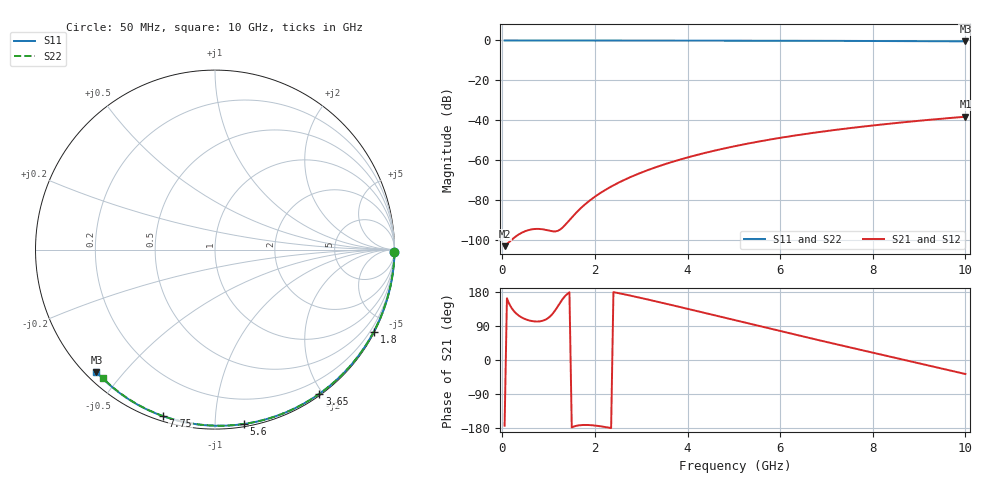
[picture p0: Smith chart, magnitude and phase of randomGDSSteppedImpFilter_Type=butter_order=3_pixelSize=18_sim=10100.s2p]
! freq	dB(S11)	phase(S11)	dB(S12)	phase(S12)
!  dB(S21)	phase(S21)	dB(S22)	phase(S22)
!S-par simulation data
#  GHz  S  DB  R 50
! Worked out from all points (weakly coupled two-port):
!   200 points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, 50 MHz to 10 GHz, reference 50 ohm
!   highest |S21| = -38.29 dB at 10 GHz (marker M1); lowest = -103.2 dB at 50 MHz (marker M2)
!   lowest |S11| = -0.5 dB at 10 GHz (marker M3), VSWR 38.21, Z = 1.54 - j21.1 ohm
!   |S11| at or under -10 dB: nowhere
!   |S22| runs from -0.4 to 0.0 dB; largest |S21 - S12| = 0
!   S11 on the Smith chart (normalised r, x): 50 MHz: open; 1.8 GHz: 0.04, -4.12; 3.65 GHz: 0.02, -1.96; 5.6 GHz: 0.02, -1.18; 7.75 GHz: 0.02, -0.74; 10 GHz: 0.03, -0.42
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0.05  -0.00 -0.8  -103.23 -173.5  -103.23 -173.5  -0.00 -0.8
0.85  -0.01 -13.0  -94.70 102.9  -94.70 102.9  -0.02 -12.8
1.3  -0.02 -19.8  -93.92 160.4  -93.92 160.4  -0.02 -19.5
1.75  -0.03 -26.6  -83.00 -171.4  -83.00 -171.4  -0.03 -26.2
1.8  -0.03 -27.3  -81.99 -171.4  -81.99 -171.4  -0.03 -26.9
1.9  -0.04 -28.8  -80.11 -171.8  -80.11 -171.8  -0.04 -28.3
2.1  -0.04 -31.8  -76.82 -174.5  -76.82 -174.5  -0.04 -31.3
2.25  -0.04 -34.0  -74.65 -177.5  -74.65 -177.5  -0.04 -33.4
2.45  -0.05 -36.9  -72.08 178.0  -72.08 178.0  -0.05 -36.3
2.65  -0.05 -39.8  -69.80 173.0  -69.80 173.0  -0.05 -39.2
3  -0.06 -44.9  -66.32 163.6  -66.32 163.6  -0.06 -44.2
3.4  -0.07 -50.6  -62.94 152.4  -62.94 152.4  -0.07 -49.8
3.65  -0.07 -54.1  -61.08 145.2  -61.08 145.2  -0.07 -53.3
4.3  -0.09 -63.1  -56.88 126.3  -56.88 126.3  -0.09 -62.1
5.05  -0.11 -73.2  -52.92 104.3  -52.92 104.3  -0.11 -72.1
5.6  -0.13 -80.5  -50.46 88.2  -50.46 88.2  -0.13 -79.2
6.15  -0.15 -87.5  -48.31 72.1  -48.31 72.1  -0.15 -86.1
6.7  -0.18 -94.5  -46.41 56.2  -46.41 56.2  -0.18 -92.9
7.75  -0.25 -107.3  -43.32 26.4  -43.32 26.4  -0.24 -105.5
8.35  -0.29 -114.5  -41.80 9.7  -41.80 9.7  -0.29 -112.5
9.15  -0.36 -124.0  -39.97 -12.7  -39.97 -12.7  -0.35 -121.6
10  -0.45 -134.1  -38.29 -37.0  -38.29 -37.0  -0.44 -131.2
